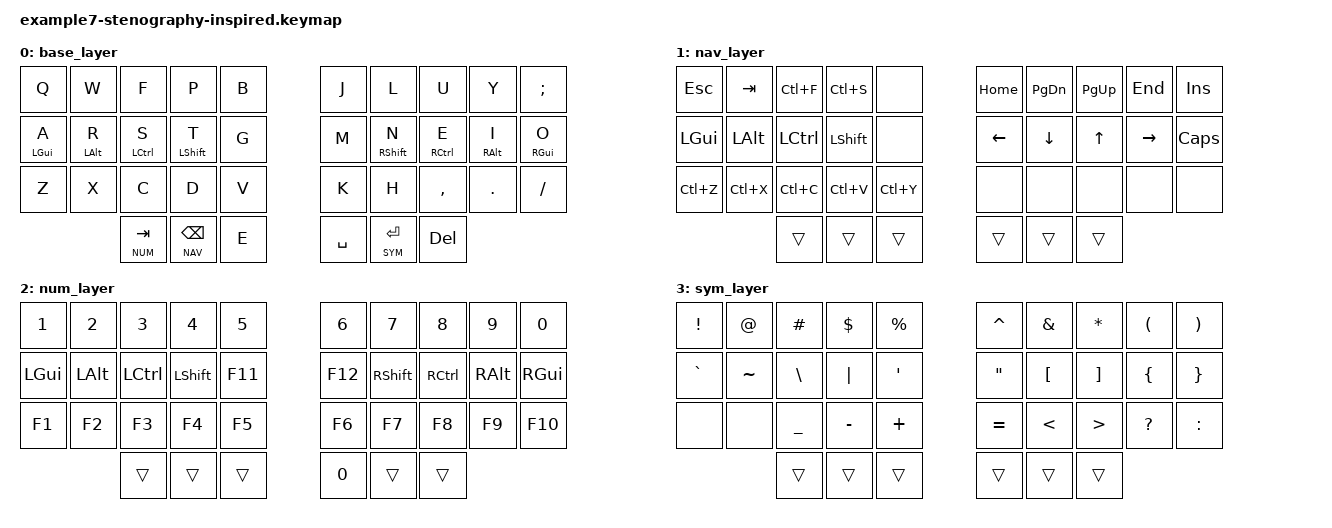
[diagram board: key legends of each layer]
// Example 7: Stenography-Inspired Layout
// Philosophy: Minimize finger travel, maximize chord potential
// Focus: Symmetrical layout, easy combinations, rolling motions
// Thumb Strategy: All thumbs active - vowels and common letters on thumbs

#include <behaviors.dtsi>
#include <dt-bindings/zmk/keys.h>

#define BASE 0
#define NAV  1
#define NUM  2
#define SYM  3

/ {
    keymap {
        compatible = "zmk,keymap";

        base_layer {
            bindings = <
    // ╭─────────────┬─────────────┬─────────────┬─────────────┬─────────────╮   ╭─────────────┬─────────────┬─────────────┬─────────────┬─────────────╮
         &kp Q         &kp W         &kp F         &kp P         &kp B             &kp J         &kp L         &kp U         &kp Y         &kp SEMI
    // ├─────────────┼─────────────┼─────────────┼─────────────┼─────────────┤   ├─────────────┼─────────────┼─────────────┼─────────────┼─────────────┤
         &mt LGUI A    &mt LALT R    &mt LCTRL S   &mt LSHFT T   &kp G             &kp M         &mt RSHFT N   &mt RCTRL E   &mt RALT I    &mt RGUI O
    // ├─────────────┼─────────────┼─────────────┼─────────────┼─────────────┤   ├─────────────┼─────────────┼─────────────┼─────────────┼─────────────┤
         &kp Z         &kp X         &kp C         &kp D         &kp V             &kp K         &kp H         &kp COMMA     &kp DOT       &kp FSLH
    // ╰─────────────┴─────────────┴─────────────┼─────────────┼─────────────┤   ├─────────────┼─────────────┼─────────────┴─────────────┴─────────────╯
                                     &lt NUM TAB   &lt NAV BSPC  &kp E             &kp SPACE     &lt SYM RET   &kp DEL
    //                               ╰─────────────┴─────────────┴─────────────╯   ╰─────────────┴─────────────┴─────────────╯
            >;
        };

        nav_layer {
            bindings = <
         &kp ESC       &kp TAB       &kp LC(F)     &kp LC(S)     &none             &kp HOME      &kp PG_DN     &kp PG_UP     &kp END       &kp INS
         &kp LGUI      &kp LALT      &kp LCTRL     &kp LSHFT     &none             &kp LEFT      &kp DOWN      &kp UP        &kp RIGHT     &kp CAPS
         &kp LC(Z)     &kp LC(X)     &kp LC(C)     &kp LC(V)     &kp LC(Y)         &none         &none         &none         &none         &none
                                     &trans        &trans        &trans            &trans        &trans        &trans
            >;
        };

        num_layer {
            bindings = <
         &kp N1        &kp N2        &kp N3        &kp N4        &kp N5            &kp N6        &kp N7        &kp N8        &kp N9        &kp N0
         &kp LGUI      &kp LALT      &kp LCTRL     &kp LSHFT     &kp F11           &kp F12       &kp RSHFT     &kp RCTRL     &kp RALT      &kp RGUI
         &kp F1        &kp F2        &kp F3        &kp F4        &kp F5            &kp F6        &kp F7        &kp F8        &kp F9        &kp F10
                                     &trans        &trans        &trans            &kp N0        &trans        &trans
            >;
        };

        sym_layer {
            bindings = <
         &kp EXCL      &kp AT        &kp HASH      &kp DLLR      &kp PRCNT         &kp CARET     &kp AMPS      &kp STAR      &kp LPAR      &kp RPAR
         &kp GRAVE     &kp TILDE     &kp BSLH      &kp PIPE      &kp SQT           &kp DQT       &kp LBKT      &kp RBKT      &kp LBRC      &kp RBRC
         &none         &none         &kp UNDER     &kp MINUS     &kp PLUS          &kp EQUAL     &kp LT        &kp GT        &kp QMARK     &kp COLON
                                     &trans        &trans        &trans            &trans        &trans        &trans
            >;
        };
    };
};
